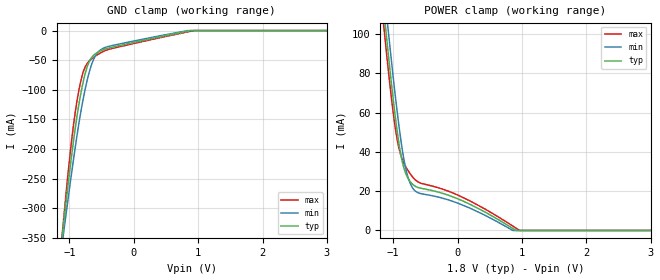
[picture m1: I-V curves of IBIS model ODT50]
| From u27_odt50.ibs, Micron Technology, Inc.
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|   MODEL ODT50
[Model]   ODT50
Model_type   Input
Vinl = 650.000mV
Vinh = 1.150V
|   typ   min   max
C_comp   3.06pF   2.65pF   3.51pF
| Note: C_comp increases when the ODT circuit is enabled.
[Model Spec]
| Input threshold voltage corners
Vinl   0.650V   0.600V   0.700V
Vinh   1.150V   1.100V   1.200V
[Voltage Range]   1.800V   1.700V   1.900V
| Junction Temperature (Ambient temp is 25C typ, 70C min, 0C max)
[Temperature Range]   40.0   85.0   0.0
[GND Clamp]
|   Voltage   I(typ)   I(min)   I(max)
-1.8V     -1.066A    -971.8mA   -1.23A
-1.12V    -355.5mA   NA         NA
-1.09V    -326.3mA   NA         -318.9mA
-1V       -241.7mA   NA         NA
-940mV    -189.4mA   NA         NA
-880mV    -143mA     NA         NA
-820mV    -104.7mA   NA         NA
-740mV    -66.75mA   -91.48mA   NA
-660mV    -46.4mA    -58.82mA   NA
-500mV    -33.35mA   NA         NA
890mV     0A         NA         NA
3.6V      0A         0A         0A
[POWER Clamp]
|   Voltage   I(typ)   I(min)   I(max)
-1.8V     342.4mA    351.1mA    336.8mA
-1.16V    117mA      NA         NA
-1.12V    103.9mA    NA         NA
-1.08V    91.11mA    NA         NA
-960mV    56.07mA    66.62mA    NA
-920mV    46.38mA    NA         NA
-860mV    35.27mA    NA         NA
-760mV    26.01mA    NA         NA
-640mV    22.19mA    NA         NA
80mV      15.04mA    NA         NA
910mV     0A         NA         NA
3.6V      0A         0A         0A
